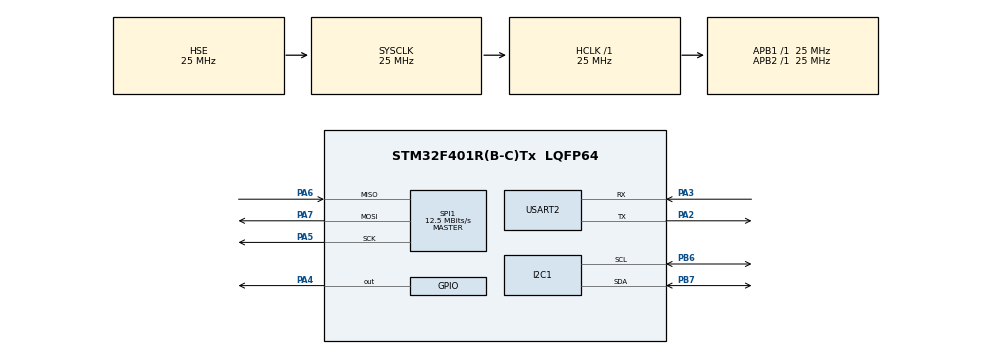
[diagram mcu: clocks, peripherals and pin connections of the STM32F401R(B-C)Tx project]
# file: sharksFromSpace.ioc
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Mcu.Family=STM32F4
Mcu.Name=STM32F401R(B-C)Tx
Mcu.Package=LQFP64
NVIC.I2C1_EV_IRQn=true\:0\:0\:false\:false\:true\:true\:true\:true
NVIC.PriorityGroup=NVIC_PRIORITYGROUP_4
PA2.Mode=Asynchronous
PA2.Signal=USART2_TX
PA3.Mode=Asynchronous
PA3.Signal=USART2_RX
PA4.Signal=GPIO_Output
PA5.Mode=Full_Duplex_Master
PA5.Signal=SPI1_SCK
PA6.Mode=Full_Duplex_Master
PA6.Signal=SPI1_MISO
PA7.Mode=Full_Duplex_Master
PA7.Signal=SPI1_MOSI
PB6.Mode=I2C
PB6.Signal=I2C1_SCL
PB7.Mode=I2C
PB7.Signal=I2C1_SDA
PH0\ -\ OSC_IN.Mode=HSE-External-Oscillator
PH0\ -\ OSC_IN.Signal=RCC_OSC_IN
PH1\ -\ OSC_OUT.Mode=HSE-External-Oscillator
PH1\ -\ OSC_OUT.Signal=RCC_OSC_OUT
ProjectManager.HeapSize=0x200
ProjectManager.StackSize=0x400
ProjectManager.TargetToolchain=STM32CubeIDE
RCC.AHBFreq_Value=25000000
RCC.APB1Freq_Value=25000000
RCC.APB1TimFreq_Value=25000000
RCC.APB2Freq_Value=25000000
RCC.APB2TimFreq_Value=25000000
RCC.CortexFreq_Value=25000000
RCC.HCLKFreq_Value=25000000
RCC.HSE_VALUE=25000000
RCC.HSI_VALUE=16000000
RCC.LSE_VALUE=32768
RCC.SYSCLKFreq_VALUE=25000000
RCC.SYSCLKSource=RCC_SYSCLKSOURCE_HSE
RCC.VCOOutputFreq_Value=192000000
SPI1.CalculateBaudRate=12.5 MBits/s
SPI1.Direction=SPI_DIRECTION_2LINES
SPI1.Mode=SPI_MODE_MASTER
SPI1.VirtualType=VM_MASTER
USART2.VirtualMode=VM_ASYNC
VP_FATFS_VS_Generic.Mode=User_defined
board=custom

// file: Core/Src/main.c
/* USER CODE BEGIN Header */
/**
  ******************************************************************************
  * @file           : main.c
  * @brief          : Main program body
  ******************************************************************************
  * @attention
  *
  * Copyright (c) 2025 STMicroelectronics.
  * All rights reserved.
  *
  * This software is licensed under terms that can be found in the LICENSE file
  * in the root directory of this software component.
  * If no LICENSE file comes with this software, it is provided AS-IS.
  *
  ******************************************************************************
  */
/* USER CODE END Header */
#include "main.h"
#include "fatfs.h"
#include "user_diskio.h"
#include <stdio.h>

I2C_HandleTypeDef hi2c1;

SPI_HandleTypeDef hspi1;

UART_HandleTypeDef huart2;

void SystemClock_Config(void);
static void MX_GPIO_Init(void);
static void MX_I2C1_Init(void);
static void MX_USART2_UART_Init(void);
static void MX_SPI1_Init(void);

/* USER CODE BEGIN 0 */
FATFS SDFatFs;   /* File system object for SD logical drive */
FIL MyFile;      /* File object */
char SDPath[4];  /* SD logical drive path */

extern UART_HandleTypeDef huart2;
extern SPI_HandleTypeDef hspi1;

void SystemClock_Config(void);
static void MX_GPIO_Init(void);
static void MX_USART2_UART_Init(void);
static void MX_SPI1_Init(void);
/* USER CODE END 0 */

int main(void)
{

  /* MCU Configuration--------------------------------------------------------*/

  /* Reset of all peripherals, Initializes the Flash interface and the Systick. */
  HAL_Init();

  /* Configure the system clock */
  SystemClock_Config();

  /* Initialize all configured peripherals */
  MX_GPIO_Init();
  MX_I2C1_Init();
  MX_USART2_UART_Init();
  MX_SPI1_Init();
  MX_FATFS_Init();
  /* USER CODE BEGIN 2 */
      if (f_mount(&SDFatFs, SDPath, 1) != FR_OK) {
          char *err = "Mount failed!\r\n";
          HAL_UART_Transmit(&huart2, (uint8_t*)err, strlen(err), HAL_MAX_DELAY);
      } else {
          char *ok = "SD Mounted\r\n";
          HAL_UART_Transmit(&huart2, (uint8_t*)ok, strlen(ok), HAL_MAX_DELAY);
      }

      uint32_t counter = 0;
  /* USER CODE END 2 */

  /* Infinite loop */
  /* USER CODE BEGIN WHILE */
  while (1)
  {
	  if (f_open(&MyFile, "0:/data.txt", FA_OPEN_APPEND | FA_WRITE) == FR_OK) {
	              char line[128];
	              int n = snprintf(line, sizeof(line), "%lu, TestLine %lu\r\n", HAL_GetTick(), counter++);
	              UINT bw;
	              FRESULT fr = f_write(&MyFile, line, n, &bw);
	              if (fr == FR_OK) {
	                  char out[64];
	                  int m = snprintf(out, sizeof(out), "Wrote %u bytes\r\n", bw);
	                  HAL_UART_Transmit(&huart2, (uint8_t*)out, m, HAL_MAX_DELAY);
	              } else {
	                  char *err = "Write failed\r\n";
	                  HAL_UART_Transmit(&huart2, (uint8_t*)err, strlen(err), HAL_MAX_DELAY);
	              }
	              f_close(&MyFile);
	          } else {
	              char *err = "File open failed\r\n";
	              HAL_UART_Transmit(&huart2, (uint8_t*)err, strlen(err), HAL_MAX_DELAY);
	          }
	          HAL_Delay(1000);
	      }
    /* USER CODE END WHILE */

  }

void SystemClock_Config(void)
{
  RCC_OscInitTypeDef RCC_OscInitStruct = {0};
  RCC_ClkInitTypeDef RCC_ClkInitStruct = {0};

  /** Configure the main internal regulator output voltage
  */
  __HAL_RCC_PWR_CLK_ENABLE();
  __HAL_PWR_VOLTAGESCALING_CONFIG(PWR_REGULATOR_VOLTAGE_SCALE2);

  /** Initializes the RCC Oscillators according to the specified parameters
  * in the RCC_OscInitTypeDef structure.
  */
  RCC_OscInitStruct.OscillatorType = RCC_OSCILLATORTYPE_HSE;
  RCC_OscInitStruct.HSEState = RCC_HSE_ON;
  RCC_OscInitStruct.PLL.PLLState = RCC_PLL_NONE;
  if (HAL_RCC_OscConfig(&RCC_OscInitStruct) != HAL_OK)
  {
    Error_Handler();
  }

  /** Initializes the CPU, AHB and APB buses clocks
  */
  RCC_ClkInitStruct.ClockType = RCC_CLOCKTYPE_HCLK|RCC_CLOCKTYPE_SYSCLK
                              |RCC_CLOCKTYPE_PCLK1|RCC_CLOCKTYPE_PCLK2;
  RCC_ClkInitStruct.SYSCLKSource = RCC_SYSCLKSOURCE_HSE;
  RCC_ClkInitStruct.AHBCLKDivider = RCC_SYSCLK_DIV1;
  RCC_ClkInitStruct.APB1CLKDivider = RCC_HCLK_DIV1;
  RCC_ClkInitStruct.APB2CLKDivider = RCC_HCLK_DIV1;

  if (HAL_RCC_ClockConfig(&RCC_ClkInitStruct, FLASH_LATENCY_0) != HAL_OK)
  {
    Error_Handler();
  }
}

static void MX_I2C1_Init(void)
{

  hi2c1.Instance = I2C1;
  hi2c1.Init.ClockSpeed = 100000;
  hi2c1.Init.DutyCycle = I2C_DUTYCYCLE_2;
  hi2c1.Init.OwnAddress1 = 0;
  hi2c1.Init.AddressingMode = I2C_ADDRESSINGMODE_7BIT;
  hi2c1.Init.DualAddressMode = I2C_DUALADDRESS_DISABLE;
  hi2c1.Init.OwnAddress2 = 0;
  hi2c1.Init.GeneralCallMode = I2C_GENERALCALL_DISABLE;
  hi2c1.Init.NoStretchMode = I2C_NOSTRETCH_DISABLE;
  if (HAL_I2C_Init(&hi2c1) != HAL_OK)
  {
    Error_Handler();
  }

}

static void MX_SPI1_Init(void)
{

  /* SPI1 parameter configuration*/
  hspi1.Instance = SPI1;
  hspi1.Init.Mode = SPI_MODE_MASTER;
  hspi1.Init.Direction = SPI_DIRECTION_2LINES;
  hspi1.Init.DataSize = SPI_DATASIZE_8BIT;
  hspi1.Init.CLKPolarity = SPI_POLARITY_LOW;
  hspi1.Init.CLKPhase = SPI_PHASE_1EDGE;
  hspi1.Init.NSS = SPI_NSS_SOFT;
  hspi1.Init.BaudRatePrescaler = SPI_BAUDRATEPRESCALER_2;
  hspi1.Init.FirstBit = SPI_FIRSTBIT_MSB;
  hspi1.Init.TIMode = SPI_TIMODE_DISABLE;
  hspi1.Init.CRCCalculation = SPI_CRCCALCULATION_DISABLE;
  hspi1.Init.CRCPolynomial = 10;
  if (HAL_SPI_Init(&hspi1) != HAL_OK)
  {
    Error_Handler();
  }

}

static void MX_USART2_UART_Init(void)
{

  huart2.Instance = USART2;
  huart2.Init.BaudRate = 115200;
  huart2.Init.WordLength = UART_WORDLENGTH_8B;
  huart2.Init.StopBits = UART_STOPBITS_1;
  huart2.Init.Parity = UART_PARITY_NONE;
  huart2.Init.Mode = UART_MODE_TX_RX;
  huart2.Init.HwFlowCtl = UART_HWCONTROL_NONE;
  huart2.Init.OverSampling = UART_OVERSAMPLING_16;
  if (HAL_UART_Init(&huart2) != HAL_OK)
  {
    Error_Handler();
  }

}

static void MX_GPIO_Init(void)
{
  GPIO_InitTypeDef GPIO_InitStruct = {0};

  /* GPIO Ports Clock Enable */
  __HAL_RCC_GPIOH_CLK_ENABLE();
  __HAL_RCC_GPIOA_CLK_ENABLE();
  __HAL_RCC_GPIOB_CLK_ENABLE();

  /*Configure GPIO pin Output Level */
  HAL_GPIO_WritePin(GPIOA, GPIO_PIN_4, GPIO_PIN_RESET);

  /*Configure GPIO pin : PA4 */
  GPIO_InitStruct.Pin = GPIO_PIN_4;
  GPIO_InitStruct.Mode = GPIO_MODE_OUTPUT_PP;
  GPIO_InitStruct.Pull = GPIO_NOPULL;
  GPIO_InitStruct.Speed = GPIO_SPEED_FREQ_LOW;
  HAL_GPIO_Init(GPIOA, &GPIO_InitStruct);

}

void Error_Handler(void)
{
  __disable_irq();
  while (1)
  {
  }
}
